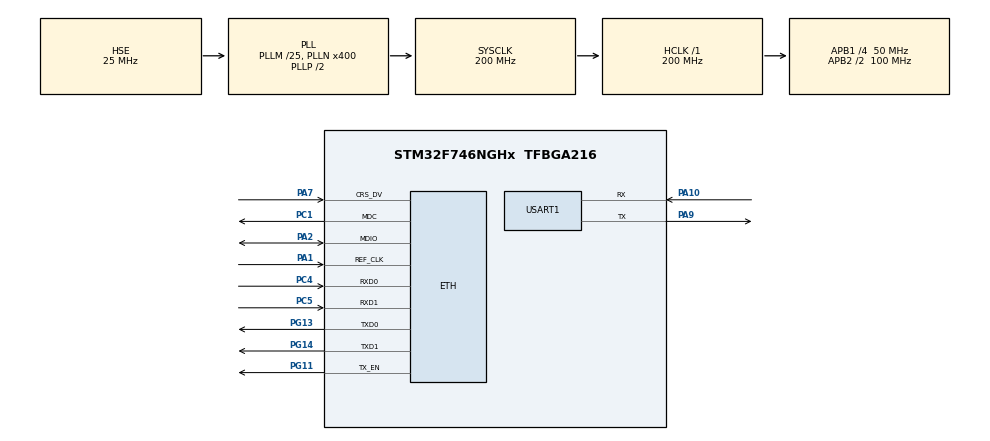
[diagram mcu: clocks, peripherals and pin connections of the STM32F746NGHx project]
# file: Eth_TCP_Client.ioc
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ETH.MediaInterface=HAL_ETH_RMII_MODE
LWIP.BSP.number=1
LWIP.IP_ADDRESS=010.004.090.100
LWIP.LWIP_DHCP=0
LWIP.NETMASK_ADDRESS=255.255.255.000
LWIP.Version=v2.1.2_Cube
LWIP0.BSP.STBoard=false
LWIP0.BSP.api=BSP_COMPONENT_DRIVER
LWIP0.BSP.component=LAN8742
LWIP0.BSP.instance=LAN8742
LWIP0.BSP.name=Driver_PHY
LWIP0.BSP.semaphore=S_LAN8742
LWIP0.BSP.solution=LAN8742
Mcu.Family=STM32F7
Mcu.Name=STM32F746NGHx
Mcu.Package=TFBGA216
NVIC.PriorityGroup=NVIC_PRIORITYGROUP_4
PA1.Mode=RMII
PA1.Signal=ETH_REF_CLK
PA10.Mode=Asynchronous
PA10.Signal=USART1_RX
PA2.Mode=RMII
PA2.Signal=ETH_MDIO
PA7.Mode=RMII
PA7.Signal=ETH_CRS_DV
PA9.Mode=Asynchronous
PA9.Signal=USART1_TX
PC1.Mode=RMII
PC1.Signal=ETH_MDC
PC4.Mode=RMII
PC4.Signal=ETH_RXD0
PC5.Mode=RMII
PC5.Signal=ETH_RXD1
PG11.Mode=RMII
PG11.Signal=ETH_TX_EN
PG13.Mode=RMII
PG13.Signal=ETH_TXD0
PG14.Mode=RMII
PG14.Signal=ETH_TXD1
PH0/OSC_IN.Mode=HSE-External-Oscillator
PH0/OSC_IN.Signal=RCC_OSC_IN
PH1/OSC_OUT.Mode=HSE-External-Oscillator
PH1/OSC_OUT.Signal=RCC_OSC_OUT
ProjectManager.HeapSize=0x200
ProjectManager.StackSize=0x400
ProjectManager.TargetToolchain=STM32CubeIDE
RCC.AHBFreq_Value=200000000
RCC.APB1CLKDivider=RCC_HCLK_DIV4
RCC.APB1Freq_Value=50000000
RCC.APB1TimFreq_Value=100000000
RCC.APB2CLKDivider=RCC_HCLK_DIV2
RCC.APB2Freq_Value=100000000
RCC.APB2TimFreq_Value=200000000
RCC.CortexFreq_Value=200000000
RCC.HCLKFreq_Value=200000000
RCC.HSE_VALUE=25000000
RCC.HSI_VALUE=16000000
RCC.LSE_VALUE=32768
RCC.PLL48CLockSelection=RCC_CLK48SOURCE_PLLSAIP
RCC.PLLI2SN=100
RCC.PLLM=25
RCC.PLLN=400
RCC.PLLQ=9
RCC.PLLSAIN=384
RCC.PLLSAIP=RCC_PLLSAIP_DIV8
RCC.PLLSAIR=5
RCC.PLLSAIRDiv=RCC_PLLSAIDIVR_8
RCC.PLLSourceVirtual=RCC_PLLSOURCE_HSE
RCC.SDMMCClockSelection=RCC_SDMMC1CLKSOURCE_CLK48
RCC.SYSCLKFreq_VALUE=200000000
RCC.SYSCLKSource=RCC_SYSCLKSOURCE_PLLCLK
RCC.USBFreq_Value=48000000
RCC.VCOOutputFreq_Value=400000000
TIM6.Prescaler=10799
USART1.VirtualMode-Asynchronous=VM_ASYNC
VP_LWIP_VS_Enabled.Mode=Enabled
VP_TIM6_VS_ClockSourceINT.Mode=Enable_Timer
board=STM32F746G-DISCO

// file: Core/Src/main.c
/* USER CODE BEGIN Header */
/**
  ******************************************************************************
  * @file           : main.c
  * @brief          : Main program body
  ******************************************************************************
  * @attention
  *
  * Copyright (c) 2026 STMicroelectronics.
  * All rights reserved.
  *
  * This software is licensed under terms that can be found in the LICENSE file
  * in the root directory of this software component.
  * If no LICENSE file comes with this software, it is provided AS-IS.
  *
  ******************************************************************************
  */
/* USER CODE END Header */
#include "main.h"
#include "lwip.h"

/* USER CODE BEGIN Includes */
#include <string.h>
#include "tcpClientRAW.h"
/*=========================WAS NOT WORKING BECAUSE==========================================*/
/*
Bug #1 — The root cause of ERR_RTE (-4) (No link-up check)

tcp_client_init()
 calls tcp_connect() immediately without checking whether the Ethernet link is actually UP:

c
// No check for netif_is_link_up() anywhere!
err = tcp_connect(tpcb, &destIPADDR, 31, tcp_client_connected);
tcp_connect() immediately tries to transmit a SYN packet. If the PHY hasn't finished auto-negotiating the link yet, lwIP has no route → returns -4 (ERR_RTE).
 A TCP server's tcp_bind()+tcp_listen() is immune because those are purely internal state — no packets are sent. A client is not.

Bug #2 — lwIP called from a timer ISR (undefined behaviour)
c
void HAL_TIM_PeriodElapsedCallback(TIM_HandleTypeDef *htim)
{
    // ...
    esTx->p = pbuf_alloc(...);   // ← lwIP heap function in an ISR!
    pbuf_take(esTx->p, ...);
    tcp_client_send(pcbTx, esTx); // ← tcp_write() inside an ISR!
    pbuf_free(esTx->p);
}
HAL_TIM_PeriodElapsedCallback() runs inside the timer interrupt handler.
lwIP's Raw API (no RTOS) is not interrupt-safe — it is designed to be called only from the main loop. Calling pbuf_alloc(), tcp_write(), etc.
from an ISR can corrupt lwIP's internal memory pools and state, causing crashes or silent data corruption.

Bug #3 — Double-free of the pbuf in the timer callback
c
tcp_client_send(pcbTx, esTx);  // ← send() already frees esTx->p internally
pbuf_free(esTx->p);             // ← attempts to free again!
esTx->p = NULL;
Inside

tcp_client_send()
, after a successful tcp_write():

c
do { freed = pbuf_free(ptr); } while (freed == 0);
The pbuf is already freed. Then the timer callback calls

pbuf_free(esTx->p)
 a second time on the same (or now-NULL) pointer. Depending on lwIP version,

pbuf_free(NULL)
 may do nothing, but the intent is clearly wrong and masks a memory bug.

Bug #4 — No tcp_arg() or tcp_err() set before tcp_connect()
c
err = tcp_connect(tpcb, &destIPADDR, 31, tcp_client_connected);
// tcp_arg() and tcp_err() are only set INSIDE tcp_client_connected()
Between the moment tcp_connect() returns ERR_OK and when the SYN-ACK arrives (several milliseconds),
if anything goes wrong (timeout, RST, etc.), the error callback fires with arg = NULL and no tcp_err handler registered → the error is silently ignored and the PCB memory leaks.

Bug #5 — tcp_poll interval set to 0
c
tcp_poll(newpcb, tcp_client_poll, 0);
The third argument is the interval in units of 500 ms.
Setting it to 0 means the poll callback never fires (it is only called when the interval counter reaches the value).
This means pending retransmissions are never retried.

Summary Table
#	Bug	Effect
1	No netif_is_link_up() guard before tcp_connect()	ERR_RTE (-4) — the original problem
2	pbuf_alloc() / tcp_write() called from timer ISR	Corruption of lwIP memory pools, unpredictable crashes
3	Double

pbuf_free()
 in timer callback	Memory corruption / wrong ref count
4	No tcp_arg() / tcp_err() before tcp_connect()	PCB memory leak on early connection failure
5	tcp_poll(..., 0) interval	Poll callback never fires, no retry on stuck data
*/
/* USER CODE END Includes */

TIM_HandleTypeDef htim6;

UART_HandleTypeDef huart1;

void SystemClock_Config(void);
static void MX_GPIO_Init(void);
static void MX_TIM6_Init(void);
static void MX_USART1_UART_Init(void);
/* USER CODE BEGIN PFP */
extern struct netif gnetif;
/* USER CODE END PFP */

/* USER CODE BEGIN 0 */
int _write(int file, char *ptr, int len)
{
    HAL_UART_Transmit(&huart1, (uint8_t *)ptr, len, HAL_MAX_DELAY);
    return len;
}
/* USER CODE END 0 */

int main(void)
{

  /* MCU Configuration--------------------------------------------------------*/

  /* Reset of all peripherals, Initializes the Flash interface and the Systick. */
  HAL_Init();

  /* Configure the system clock */
  SystemClock_Config();

  /* Initialize all configured peripherals */
  MX_GPIO_Init();
  MX_TIM6_Init();
  MX_LWIP_Init();
  MX_USART1_UART_Init();
  /* USER CODE BEGIN 2 */
  HAL_TIM_Base_Start_IT(&htim6);
  printf("Timer initialized\r\n");

   // Give network time to stabilize (important!)
  HAL_Delay(2000);

  // NOW start TCP client
  tcp_client_init();
  /* USER CODE END 2 */

  /* Infinite loop */
  while (1)
  {

    /* USER CODE BEGIN 3 */
	  printf("Hello");
	  HAL_Delay(1000);
	  MX_LWIP_Process();
	  ethernetif_input(&gnetif);
	  sys_check_timeouts();
	  static uint32_t link_timer = 0;
	  if (HAL_GetTick() - link_timer >= 100)
	  {
		  link_timer = HAL_GetTick();
		  ethernet_link_check_state(&gnetif);
	  }
  }
  /* USER CODE END 3 */
}

void SystemClock_Config(void)
{
  RCC_OscInitTypeDef RCC_OscInitStruct = {0};
  RCC_ClkInitTypeDef RCC_ClkInitStruct = {0};

  /** Configure the main internal regulator output voltage
  */
  __HAL_RCC_PWR_CLK_ENABLE();
  __HAL_PWR_VOLTAGESCALING_CONFIG(PWR_REGULATOR_VOLTAGE_SCALE1);

  /** Initializes the RCC Oscillators according to the specified parameters
  * in the RCC_OscInitTypeDef structure.
  */
  RCC_OscInitStruct.OscillatorType = RCC_OSCILLATORTYPE_HSE;
  RCC_OscInitStruct.HSEState = RCC_HSE_ON;
  RCC_OscInitStruct.PLL.PLLState = RCC_PLL_ON;
  RCC_OscInitStruct.PLL.PLLSource = RCC_PLLSOURCE_HSE;
  RCC_OscInitStruct.PLL.PLLM = 25;
  RCC_OscInitStruct.PLL.PLLN = 400;
  RCC_OscInitStruct.PLL.PLLP = RCC_PLLP_DIV2;
  RCC_OscInitStruct.PLL.PLLQ = 9;
  if (HAL_RCC_OscConfig(&RCC_OscInitStruct) != HAL_OK)
  {
    Error_Handler();
  }

  /** Activate the Over-Drive mode
  */
  if (HAL_PWREx_EnableOverDrive() != HAL_OK)
  {
    Error_Handler();
  }

  /** Initializes the CPU, AHB and APB buses clocks
  */
  RCC_ClkInitStruct.ClockType = RCC_CLOCKTYPE_HCLK|RCC_CLOCKTYPE_SYSCLK
                              |RCC_CLOCKTYPE_PCLK1|RCC_CLOCKTYPE_PCLK2;
  RCC_ClkInitStruct.SYSCLKSource = RCC_SYSCLKSOURCE_PLLCLK;
  RCC_ClkInitStruct.AHBCLKDivider = RCC_SYSCLK_DIV1;
  RCC_ClkInitStruct.APB1CLKDivider = RCC_HCLK_DIV4;
  RCC_ClkInitStruct.APB2CLKDivider = RCC_HCLK_DIV2;

  if (HAL_RCC_ClockConfig(&RCC_ClkInitStruct, FLASH_LATENCY_6) != HAL_OK)
  {
    Error_Handler();
  }
}

static void MX_TIM6_Init(void)
{

  TIM_MasterConfigTypeDef sMasterConfig = {0};

  htim6.Instance = TIM6;
  htim6.Init.Prescaler = 10799;
  htim6.Init.CounterMode = TIM_COUNTERMODE_UP;
  htim6.Init.Period = 65535;
  htim6.Init.AutoReloadPreload = TIM_AUTORELOAD_PRELOAD_DISABLE;
  if (HAL_TIM_Base_Init(&htim6) != HAL_OK)
  {
    Error_Handler();
  }
  sMasterConfig.MasterOutputTrigger = TIM_TRGO_RESET;
  sMasterConfig.MasterSlaveMode = TIM_MASTERSLAVEMODE_DISABLE;
  if (HAL_TIMEx_MasterConfigSynchronization(&htim6, &sMasterConfig) != HAL_OK)
  {
    Error_Handler();
  }

}

static void MX_USART1_UART_Init(void)
{

  huart1.Instance = USART1;
  huart1.Init.BaudRate = 115200;
  huart1.Init.WordLength = UART_WORDLENGTH_8B;
  huart1.Init.StopBits = UART_STOPBITS_1;
  huart1.Init.Parity = UART_PARITY_NONE;
  huart1.Init.Mode = UART_MODE_TX_RX;
  huart1.Init.HwFlowCtl = UART_HWCONTROL_NONE;
  huart1.Init.OverSampling = UART_OVERSAMPLING_16;
  huart1.Init.OneBitSampling = UART_ONE_BIT_SAMPLE_DISABLE;
  huart1.AdvancedInit.AdvFeatureInit = UART_ADVFEATURE_NO_INIT;
  if (HAL_UART_Init(&huart1) != HAL_OK)
  {
    Error_Handler();
  }

}

static void MX_GPIO_Init(void)
{

  /* GPIO Ports Clock Enable */
  __HAL_RCC_GPIOG_CLK_ENABLE();
  __HAL_RCC_GPIOA_CLK_ENABLE();
  __HAL_RCC_GPIOH_CLK_ENABLE();
  __HAL_RCC_GPIOC_CLK_ENABLE();

}

void Error_Handler(void)
{
  __disable_irq();
  while (1)
  {
  }
}
